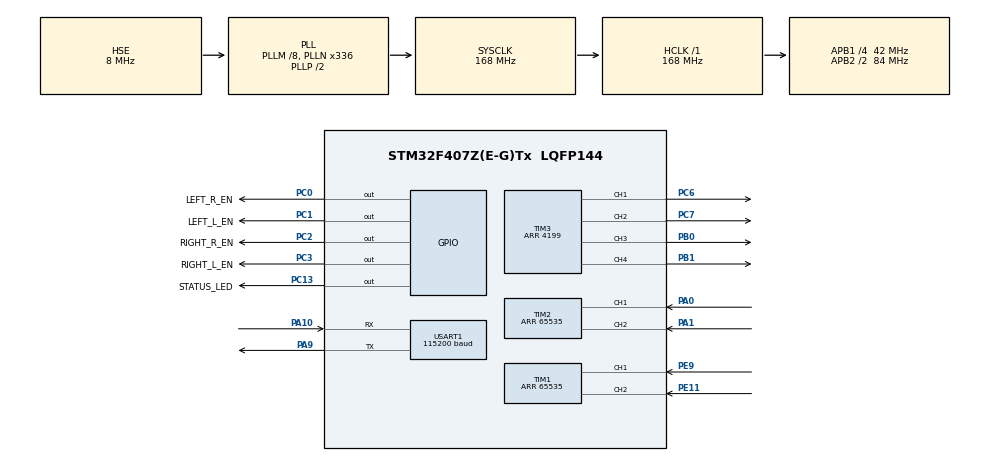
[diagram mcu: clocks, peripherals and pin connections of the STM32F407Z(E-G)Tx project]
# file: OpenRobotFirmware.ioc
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Mcu.Family=STM32F4
Mcu.Name=STM32F407Z(E-G)Tx
Mcu.Package=LQFP144
NVIC.PriorityGroup=NVIC_PRIORITYGROUP_4
NVIC.TIM6_DAC_IRQn=true\:0\:0\:false\:false\:true\:true\:true\:true
NVIC.USART1_IRQn=true\:1\:0\:false\:false\:true\:true\:true\:true
PA0-WKUP.Signal=S_TIM2_CH1_ETR
PA1.Signal=S_TIM2_CH2
PA10.Mode=Asynchronous
PA10.Signal=USART1_RX
PA13.Mode=Serial_Wire
PA13.Signal=SYS_JTMS-SWDIO
PA14.Mode=Serial_Wire
PA14.Signal=SYS_JTCK-SWCLK
PA9.Mode=Asynchronous
PA9.Signal=USART1_TX
PB0.Signal=S_TIM3_CH3
PB1.Signal=S_TIM3_CH4
PC0.GPIO_Label=LEFT_R_EN
PC0.Signal=GPIO_Output
PC1.GPIO_Label=LEFT_L_EN
PC1.Signal=GPIO_Output
PC13-ANTI_TAMP.GPIO_Label=STATUS_LED
PC13-ANTI_TAMP.GPIO_Speed=GPIO_SPEED_FREQ_LOW
PC13-ANTI_TAMP.PinState=GPIO_PIN_SET
PC13-ANTI_TAMP.Signal=GPIO_Output
PC2.GPIO_Label=RIGHT_R_EN
PC2.Signal=GPIO_Output
PC3.GPIO_Label=RIGHT_L_EN
PC3.Signal=GPIO_Output
PC6.Signal=S_TIM3_CH1
PC7.Signal=S_TIM3_CH2
PE11.Signal=S_TIM1_CH2
PE9.Signal=S_TIM1_CH1
PH0-OSC_IN.Mode=HSE-External-Oscillator
PH0-OSC_IN.Signal=RCC_OSC_IN
PH1-OSC_OUT.Mode=HSE-External-Oscillator
PH1-OSC_OUT.Signal=RCC_OSC_OUT
ProjectManager.HeapSize=0x2000
ProjectManager.StackSize=0x2000
ProjectManager.TargetToolchain=STM32CubeIDE
RCC.48MHZClocksFreq_Value=48000000
RCC.AHBFreq_Value=168000000
RCC.APB1CLKDivider=RCC_HCLK_DIV4
RCC.APB1Freq_Value=42000000
RCC.APB1TimFreq_Value=84000000
RCC.APB2CLKDivider=RCC_HCLK_DIV2
RCC.APB2Freq_Value=84000000
RCC.APB2TimFreq_Value=168000000
RCC.CortexFreq_Value=168000000
RCC.HCLKFreq_Value=168000000
RCC.HSE_VALUE=8000000
RCC.HSI_VALUE=16000000
RCC.LSE_VALUE=32768
RCC.PLLM=8
RCC.PLLN=336
RCC.PLLQ=7
RCC.PLLSourceVirtual=RCC_PLLSOURCE_HSE
RCC.SYSCLKFreq_VALUE=168000000
RCC.SYSCLKSource=RCC_SYSCLKSOURCE_PLLCLK
RCC.VCOOutputFreq_Value=336000000
SH.S_TIM1_CH1.0=TIM1_CH1,Encoder_Interface
SH.S_TIM1_CH2.0=TIM1_CH2,Encoder_Interface
SH.S_TIM2_CH1_ETR.0=TIM2_CH1,Encoder_Interface
SH.S_TIM2_CH2.0=TIM2_CH2,Encoder_Interface
SH.S_TIM3_CH1.0=TIM3_CH1,PWM Generation1 CH1
SH.S_TIM3_CH2.0=TIM3_CH2,PWM Generation2 CH2
SH.S_TIM3_CH3.0=TIM3_CH3,PWM Generation3 CH3
SH.S_TIM3_CH4.0=TIM3_CH4,PWM Generation4 CH4
TIM1.EncoderMode=TIM_ENCODERMODE_TI12
TIM1.IC1Filter=4
TIM1.IC2Filter=4
TIM1.Period=65535
TIM2.EncoderMode=TIM_ENCODERMODE_TI12
TIM2.IC1Filter=4
TIM2.IC2Filter=4
TIM2.Period=65535
TIM3.AutoReloadPreload=TIM_AUTORELOAD_PRELOAD_ENABLE
TIM3.Channel-PWM\ Generation1\ CH1=TIM_CHANNEL_1
TIM3.Channel-PWM\ Generation2\ CH2=TIM_CHANNEL_2
TIM3.Channel-PWM\ Generation3\ CH3=TIM_CHANNEL_3
TIM3.Channel-PWM\ Generation4\ CH4=TIM_CHANNEL_4
TIM3.Period=4199
TIM6.Period=99
TIM6.Prescaler=8399
USART1.BaudRate=115200
USART1.VirtualMode=VM_ASYNC
VP_TIM6_VS_ClockSourceINT.Mode=Enable_Timer
board=custom

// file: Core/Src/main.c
/* USER CODE BEGIN Header */
/**
  ******************************************************************************
  * @file           : main.c
  * @brief          : OpenRobot-One motor closed-loop main program
  ******************************************************************************
  * @attention
  *
  * Copyright (c) 2026 STMicroelectronics.
  * All rights reserved.
  *
  ******************************************************************************
  */
/* USER CODE END Header */

#include "main.h"

/* USER CODE BEGIN Includes */
#include "motor_control.h"
#include "protocol.h"
/* USER CODE END Includes */

TIM_HandleTypeDef htim1;
TIM_HandleTypeDef htim2;
TIM_HandleTypeDef htim3;
TIM_HandleTypeDef htim6;

UART_HandleTypeDef huart1;

/* USER CODE BEGIN PV */

/*
 * TIM6 = 100 Hz.
 * ISR only sets this flag.
 * The real control calculation runs in main().
 */
volatile uint8_t g_control_10ms_flag = 0U;

/* USER CODE END PV */

void SystemClock_Config(void);
static void MX_GPIO_Init(void);
static void MX_USART1_UART_Init(void);
static void MX_TIM1_Init(void);
static void MX_TIM2_Init(void);
static void MX_TIM3_Init(void);
static void MX_TIM6_Init(void);

/* USER CODE BEGIN PFP */

static void HardwareMotorSafeOff(void);

/* USER CODE END PFP */

/* USER CODE BEGIN 0 */

/**
 * @brief Immediately place both BTS7960 drivers into safe OFF state.
 *
 * This function does not depend on the PI controller state.
 * It is used for startup/error safety.
 */
static void HardwareMotorSafeOff(void)
{
    const uint32_t enable_pins =
        LEFT_R_EN_Pin  |
        LEFT_L_EN_Pin  |
        RIGHT_R_EN_Pin |
        RIGHT_L_EN_Pin;

    /*
     * If TIM3 clock is already enabled,
     * force all four PWM channels to zero.
     */
    if ((RCC->APB1ENR & RCC_APB1ENR_TIM3EN) != 0U)
    {
        TIM3->CCR1 = 0U;
        TIM3->CCR2 = 0U;
        TIM3->CCR3 = 0U;
        TIM3->CCR4 = 0U;
    }

    /*
     * Disable both BTS7960 boards.
     */
    if ((RCC->AHB1ENR & RCC_AHB1ENR_GPIOCEN) != 0U)
    {
        GPIOC->BSRR =
            ((uint32_t)enable_pins << 16U);
    }
}

void Motor_EmergencyStop(void)
{
    HardwareMotorSafeOff();
}

/* USER CODE END 0 */

int main(void)
{

    /* MCU Configuration--------------------------------------------------------*/

    HAL_Init();

    SystemClock_Config();

    /* Initialize all configured peripherals */
    MX_GPIO_Init();
    MX_USART1_UART_Init();
    MX_TIM1_Init();
    MX_TIM2_Init();
    MX_TIM3_Init();
    MX_TIM6_Init();

    /* USER CODE BEGIN 2 */

    /*
     * Always enter safe state before enabling
     * PWM/encoder/control peripherals.
     */
    HardwareMotorSafeOff();

    /*
     * MotorControl_Init() starts:
     *
     * TIM2 -> LEFT encoder
     * TIM1 -> RIGHT encoder
     * TIM3 -> PWM CH1~CH4
     */
    MotorControl_Init();

    /*
     * Start USART1 interrupt reception.
     */
    Protocol_Init(&huart1);

    /*
     * Start existing TIM6 100 Hz control scheduler.
     *
     * Do this exactly ONCE.
     */
    if (HAL_TIM_Base_Start_IT(&htim6) != HAL_OK)
    {
        Error_Handler();
    }

    /* USER CODE END 2 */

    /* Infinite loop */
    /* USER CODE BEGIN WHILE */

    while (1)
    {
        /*
         * Parse complete UART commands.
         */
        Protocol_Poll();

        /*
         * Formal mode:
         * 500 ms without a valid speed command -> STOP.
         */
        Protocol_CheckWatchdog();

        /*
         * Run control loop once for each TIM6 10 ms tick.
         */
        if (g_control_10ms_flag != 0U)
        {
            g_control_10ms_flag = 0U;

            MotorControl_Update10ms();
        }

        /*
         * Send telemetry every 100 ms.
         */
        Protocol_SendTelemetry();
    }

    /* USER CODE END WHILE */

}

void SystemClock_Config(void)
{
    RCC_OscInitTypeDef RCC_OscInitStruct = {0};
    RCC_ClkInitTypeDef RCC_ClkInitStruct = {0};

    __HAL_RCC_PWR_CLK_ENABLE();
    __HAL_PWR_VOLTAGESCALING_CONFIG(
        PWR_REGULATOR_VOLTAGE_SCALE1
    );

    RCC_OscInitStruct.OscillatorType =
        RCC_OSCILLATORTYPE_HSE;

    RCC_OscInitStruct.HSEState =
        RCC_HSE_ON;

    RCC_OscInitStruct.PLL.PLLState =
        RCC_PLL_ON;

    RCC_OscInitStruct.PLL.PLLSource =
        RCC_PLLSOURCE_HSE;

    RCC_OscInitStruct.PLL.PLLM = 8;
    RCC_OscInitStruct.PLL.PLLN = 336;
    RCC_OscInitStruct.PLL.PLLP =
        RCC_PLLP_DIV2;
    RCC_OscInitStruct.PLL.PLLQ = 7;

    if (HAL_RCC_OscConfig(
            &RCC_OscInitStruct) != HAL_OK)
    {
        Error_Handler();
    }

    RCC_ClkInitStruct.ClockType =
        RCC_CLOCKTYPE_HCLK |
        RCC_CLOCKTYPE_SYSCLK |
        RCC_CLOCKTYPE_PCLK1 |
        RCC_CLOCKTYPE_PCLK2;

    RCC_ClkInitStruct.SYSCLKSource =
        RCC_SYSCLKSOURCE_PLLCLK;

    RCC_ClkInitStruct.AHBCLKDivider =
        RCC_SYSCLK_DIV1;

    RCC_ClkInitStruct.APB1CLKDivider =
        RCC_HCLK_DIV4;

    RCC_ClkInitStruct.APB2CLKDivider =
        RCC_HCLK_DIV2;

    if (HAL_RCC_ClockConfig(
            &RCC_ClkInitStruct,
            FLASH_LATENCY_5) != HAL_OK)
    {
        Error_Handler();
    }
}

static void MX_TIM1_Init(void)
{
    TIM_Encoder_InitTypeDef sConfig = {0};
    TIM_MasterConfigTypeDef sMasterConfig = {0};

    htim1.Instance = TIM1;
    htim1.Init.Prescaler = 0;
    htim1.Init.CounterMode =
        TIM_COUNTERMODE_UP;
    htim1.Init.Period = 65535;
    htim1.Init.ClockDivision =
        TIM_CLOCKDIVISION_DIV1;
    htim1.Init.RepetitionCounter = 0;
    htim1.Init.AutoReloadPreload =
        TIM_AUTORELOAD_PRELOAD_DISABLE;

    sConfig.EncoderMode =
        TIM_ENCODERMODE_TI12;

    sConfig.IC1Polarity =
        TIM_ICPOLARITY_RISING;
    sConfig.IC1Selection =
        TIM_ICSELECTION_DIRECTTI;
    sConfig.IC1Prescaler =
        TIM_ICPSC_DIV1;
    sConfig.IC1Filter = 4;

    sConfig.IC2Polarity =
        TIM_ICPOLARITY_RISING;
    sConfig.IC2Selection =
        TIM_ICSELECTION_DIRECTTI;
    sConfig.IC2Prescaler =
        TIM_ICPSC_DIV1;
    sConfig.IC2Filter = 4;

    if (HAL_TIM_Encoder_Init(
            &htim1,
            &sConfig) != HAL_OK)
    {
        Error_Handler();
    }

    sMasterConfig.MasterOutputTrigger =
        TIM_TRGO_RESET;

    sMasterConfig.MasterSlaveMode =
        TIM_MASTERSLAVEMODE_DISABLE;

    if (HAL_TIMEx_MasterConfigSynchronization(
            &htim1,
            &sMasterConfig) != HAL_OK)
    {
        Error_Handler();
    }
}

static void MX_TIM2_Init(void)
{
    TIM_Encoder_InitTypeDef sConfig = {0};
    TIM_MasterConfigTypeDef sMasterConfig = {0};

    htim2.Instance = TIM2;
    htim2.Init.Prescaler = 0;
    htim2.Init.CounterMode =
        TIM_COUNTERMODE_UP;
    htim2.Init.Period = 65535;
    htim2.Init.ClockDivision =
        TIM_CLOCKDIVISION_DIV1;
    htim2.Init.AutoReloadPreload =
        TIM_AUTORELOAD_PRELOAD_DISABLE;

    sConfig.EncoderMode =
        TIM_ENCODERMODE_TI12;

    sConfig.IC1Polarity =
        TIM_ICPOLARITY_RISING;
    sConfig.IC1Selection =
        TIM_ICSELECTION_DIRECTTI;
    sConfig.IC1Prescaler =
        TIM_ICPSC_DIV1;
    sConfig.IC1Filter = 4;

    sConfig.IC2Polarity =
        TIM_ICPOLARITY_RISING;
    sConfig.IC2Selection =
        TIM_ICSELECTION_DIRECTTI;
    sConfig.IC2Prescaler =
        TIM_ICPSC_DIV1;
    sConfig.IC2Filter = 4;

    if (HAL_TIM_Encoder_Init(
            &htim2,
            &sConfig) != HAL_OK)
    {
        Error_Handler();
    }

    sMasterConfig.MasterOutputTrigger =
        TIM_TRGO_RESET;

    sMasterConfig.MasterSlaveMode =
        TIM_MASTERSLAVEMODE_DISABLE;

    if (HAL_TIMEx_MasterConfigSynchronization(
            &htim2,
            &sMasterConfig) != HAL_OK)
    {
        Error_Handler();
    }
}

static void MX_TIM3_Init(void)
{
    TIM_MasterConfigTypeDef sMasterConfig = {0};
    TIM_OC_InitTypeDef sConfigOC = {0};

    htim3.Instance = TIM3;
    htim3.Init.Prescaler = 0;
    htim3.Init.CounterMode =
        TIM_COUNTERMODE_UP;
    htim3.Init.Period = 4199;
    htim3.Init.ClockDivision =
        TIM_CLOCKDIVISION_DIV1;
    htim3.Init.AutoReloadPreload =
        TIM_AUTORELOAD_PRELOAD_ENABLE;

    if (HAL_TIM_PWM_Init(
            &htim3) != HAL_OK)
    {
        Error_Handler();
    }

    sMasterConfig.MasterOutputTrigger =
        TIM_TRGO_RESET;

    sMasterConfig.MasterSlaveMode =
        TIM_MASTERSLAVEMODE_DISABLE;

    if (HAL_TIMEx_MasterConfigSynchronization(
            &htim3,
            &sMasterConfig) != HAL_OK)
    {
        Error_Handler();
    }

    sConfigOC.OCMode =
        TIM_OCMODE_PWM1;

    sConfigOC.Pulse = 0;

    sConfigOC.OCPolarity =
        TIM_OCPOLARITY_HIGH;

    sConfigOC.OCFastMode =
        TIM_OCFAST_DISABLE;

    if (HAL_TIM_PWM_ConfigChannel(
            &htim3,
            &sConfigOC,
            TIM_CHANNEL_1) != HAL_OK)
    {
        Error_Handler();
    }

    if (HAL_TIM_PWM_ConfigChannel(
            &htim3,
            &sConfigOC,
            TIM_CHANNEL_2) != HAL_OK)
    {
        Error_Handler();
    }

    if (HAL_TIM_PWM_ConfigChannel(
            &htim3,
            &sConfigOC,
            TIM_CHANNEL_3) != HAL_OK)
    {
        Error_Handler();
    }

    if (HAL_TIM_PWM_ConfigChannel(
            &htim3,
            &sConfigOC,
            TIM_CHANNEL_4) != HAL_OK)
    {
        Error_Handler();
    }

    HAL_TIM_MspPostInit(&htim3);
}

static void MX_TIM6_Init(void)
{
    TIM_MasterConfigTypeDef sMasterConfig = {0};

    htim6.Instance = TIM6;
    htim6.Init.Prescaler = 8399;
    htim6.Init.CounterMode =
        TIM_COUNTERMODE_UP;
    htim6.Init.Period = 99;
    htim6.Init.AutoReloadPreload =
        TIM_AUTORELOAD_PRELOAD_DISABLE;

    if (HAL_TIM_Base_Init(
            &htim6) != HAL_OK)
    {
        Error_Handler();
    }

    sMasterConfig.MasterOutputTrigger =
        TIM_TRGO_RESET;

    sMasterConfig.MasterSlaveMode =
        TIM_MASTERSLAVEMODE_DISABLE;

    if (HAL_TIMEx_MasterConfigSynchronization(
            &htim6,
            &sMasterConfig) != HAL_OK)
    {
        Error_Handler();
    }
}

static void MX_USART1_UART_Init(void)
{
    huart1.Instance = USART1;

    huart1.Init.BaudRate = 115200;
    huart1.Init.WordLength =
        UART_WORDLENGTH_8B;
    huart1.Init.StopBits =
        UART_STOPBITS_1;
    huart1.Init.Parity =
        UART_PARITY_NONE;
    huart1.Init.Mode =
        UART_MODE_TX_RX;
    huart1.Init.HwFlowCtl =
        UART_HWCONTROL_NONE;
    huart1.Init.OverSampling =
        UART_OVERSAMPLING_16;

    if (HAL_UART_Init(
            &huart1) != HAL_OK)
    {
        Error_Handler();
    }
}

static void MX_GPIO_Init(void)
{
    GPIO_InitTypeDef GPIO_InitStruct = {0};

    __HAL_RCC_GPIOC_CLK_ENABLE();
    __HAL_RCC_GPIOH_CLK_ENABLE();
    __HAL_RCC_GPIOA_CLK_ENABLE();
    __HAL_RCC_GPIOB_CLK_ENABLE();
    __HAL_RCC_GPIOE_CLK_ENABLE();

    HAL_GPIO_WritePin(
        STATUS_LED_GPIO_Port,
        STATUS_LED_Pin,
        GPIO_PIN_SET);

    /*
     * BTS7960 enable pins default LOW.
     * Important startup safety.
     */
    HAL_GPIO_WritePin(
        GPIOC,
        LEFT_R_EN_Pin |
        LEFT_L_EN_Pin |
        RIGHT_R_EN_Pin |
        RIGHT_L_EN_Pin,
        GPIO_PIN_RESET);

    GPIO_InitStruct.Pin =
        STATUS_LED_Pin |
        LEFT_R_EN_Pin |
        LEFT_L_EN_Pin |
        RIGHT_R_EN_Pin |
        RIGHT_L_EN_Pin;

    GPIO_InitStruct.Mode =
        GPIO_MODE_OUTPUT_PP;

    GPIO_InitStruct.Pull =
        GPIO_NOPULL;

    GPIO_InitStruct.Speed =
        GPIO_SPEED_FREQ_LOW;

    HAL_GPIO_Init(
        GPIOC,
        &GPIO_InitStruct);
}

/* USER CODE BEGIN 4 */

/**
 * @brief TIM6 100 Hz callback.
 *
 * ISR intentionally does NOT run the PI controller.
 * It only sets a scheduler flag.
 */
void HAL_TIM_PeriodElapsedCallback(
    TIM_HandleTypeDef *htim)
{
    if (htim->Instance == TIM6)
    {
        g_control_10ms_flag = 1U;
    }
}

/**
 * @brief USART interrupt receive-complete callback.
 *
 * This is the missing Step 20 callback.
 */
void HAL_UART_RxCpltCallback(
    UART_HandleTypeDef *huart)
{
    Protocol_RxCallback(huart);
}

void HAL_UART_ErrorCallback(
    UART_HandleTypeDef *huart)
{
    Protocol_ErrorCallback(huart);
}

/* USER CODE END 4 */

void Error_Handler(void)
{
    /* USER CODE BEGIN Error_Handler_Debug */

    /*
     * Kill PWM and BTS7960 enables first.
     */
    HardwareMotorSafeOff();

    __disable_irq();

    while (1)
    {
    }

    /* USER CODE END Error_Handler_Debug */
}

#ifdef USE_FULL_ASSERT
/**
  * @brief Reports the name of the source file and the source line number.
  */
void assert_failed(
    uint8_t *file,
    uint32_t line)
{
    /* USER CODE BEGIN 6 */

    (void)file;
    (void)line;

    /* USER CODE END 6 */
}
#endif
